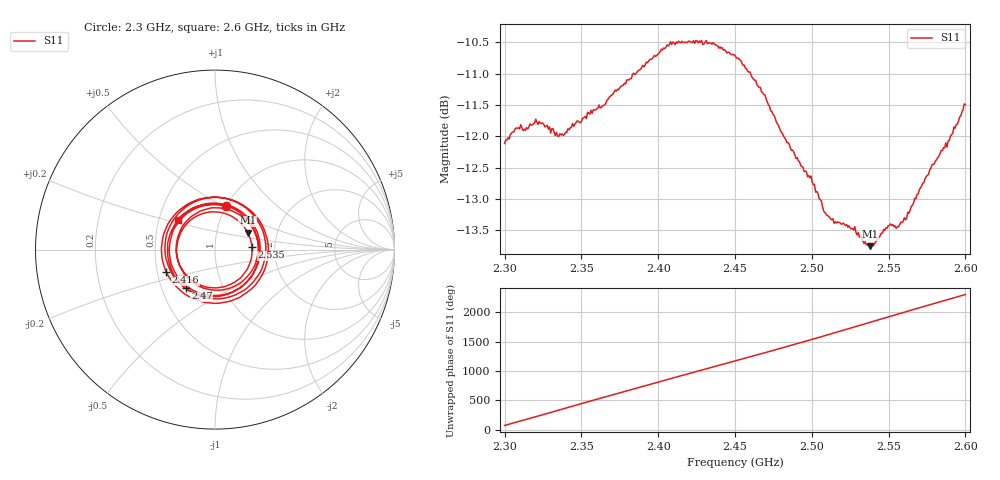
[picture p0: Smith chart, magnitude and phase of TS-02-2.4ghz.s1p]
! NanoVNA-App
! Date: 2026-05-22 18:52:15
! Start: 2.3GHz Stop: 2.6GHz Points: 401
! S-Parameter data: F S11
# Hz S RI R 50
!  Frequency  S11_Real  S11_Imag
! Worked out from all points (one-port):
!   401 points, 2.3 GHz to 2.6 GHz, reference 50 ohm
!   lowest |S11| = -13.8 dB at 2.538 GHz (marker M1), VSWR 1.52, Z = 70.7 + j13.9 ohm
!   |S11| at or under -10 dB: start of sweep to end of sweep
!   S11 on the Smith chart (normalised r, x): 2.3 GHz: 1.00, +0.51; 2.416 GHz: 0.56, -0.15; 2.47 GHz: 0.66, -0.31; 2.535 GHz: 1.52, +0.04; 2.6 GHz: 0.63, +0.22
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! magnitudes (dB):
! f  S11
! 2.3 GHz  -12.1
! 2.309 GHz  -11.9
! 2.313 GHz  -11.9
! 2.321 GHz  -11.8
! 2.334 GHz  -11.9
! 2.337 GHz  -12.0
! 2.364 GHz  -11.5
! 2.375 GHz  -11.2
! 2.406 GHz  -10.6
! 2.413 GHz  -10.5
! 2.416 GHz  -10.5
! 2.435 GHz  -10.5
! 2.45 GHz  -10.7
! 2.47 GHz  -11.3
! 2.478 GHz  -11.8
! 2.487 GHz  -12.2
! 2.5 GHz  -12.7
! 2.509 GHz  -13.2
! 2.525 GHz  -13.5
! 2.535 GHz  -13.7
! 2.538 GHz  -13.8
! 2.542 GHz  -13.7
! 2.55 GHz  -13.4
! 2.556 GHz  -13.4
! 2.562 GHz  -13.2
! 2.578 GHz  -12.5
! 2.59 GHz  -12.1
! 2.6 GHz  -11.5
